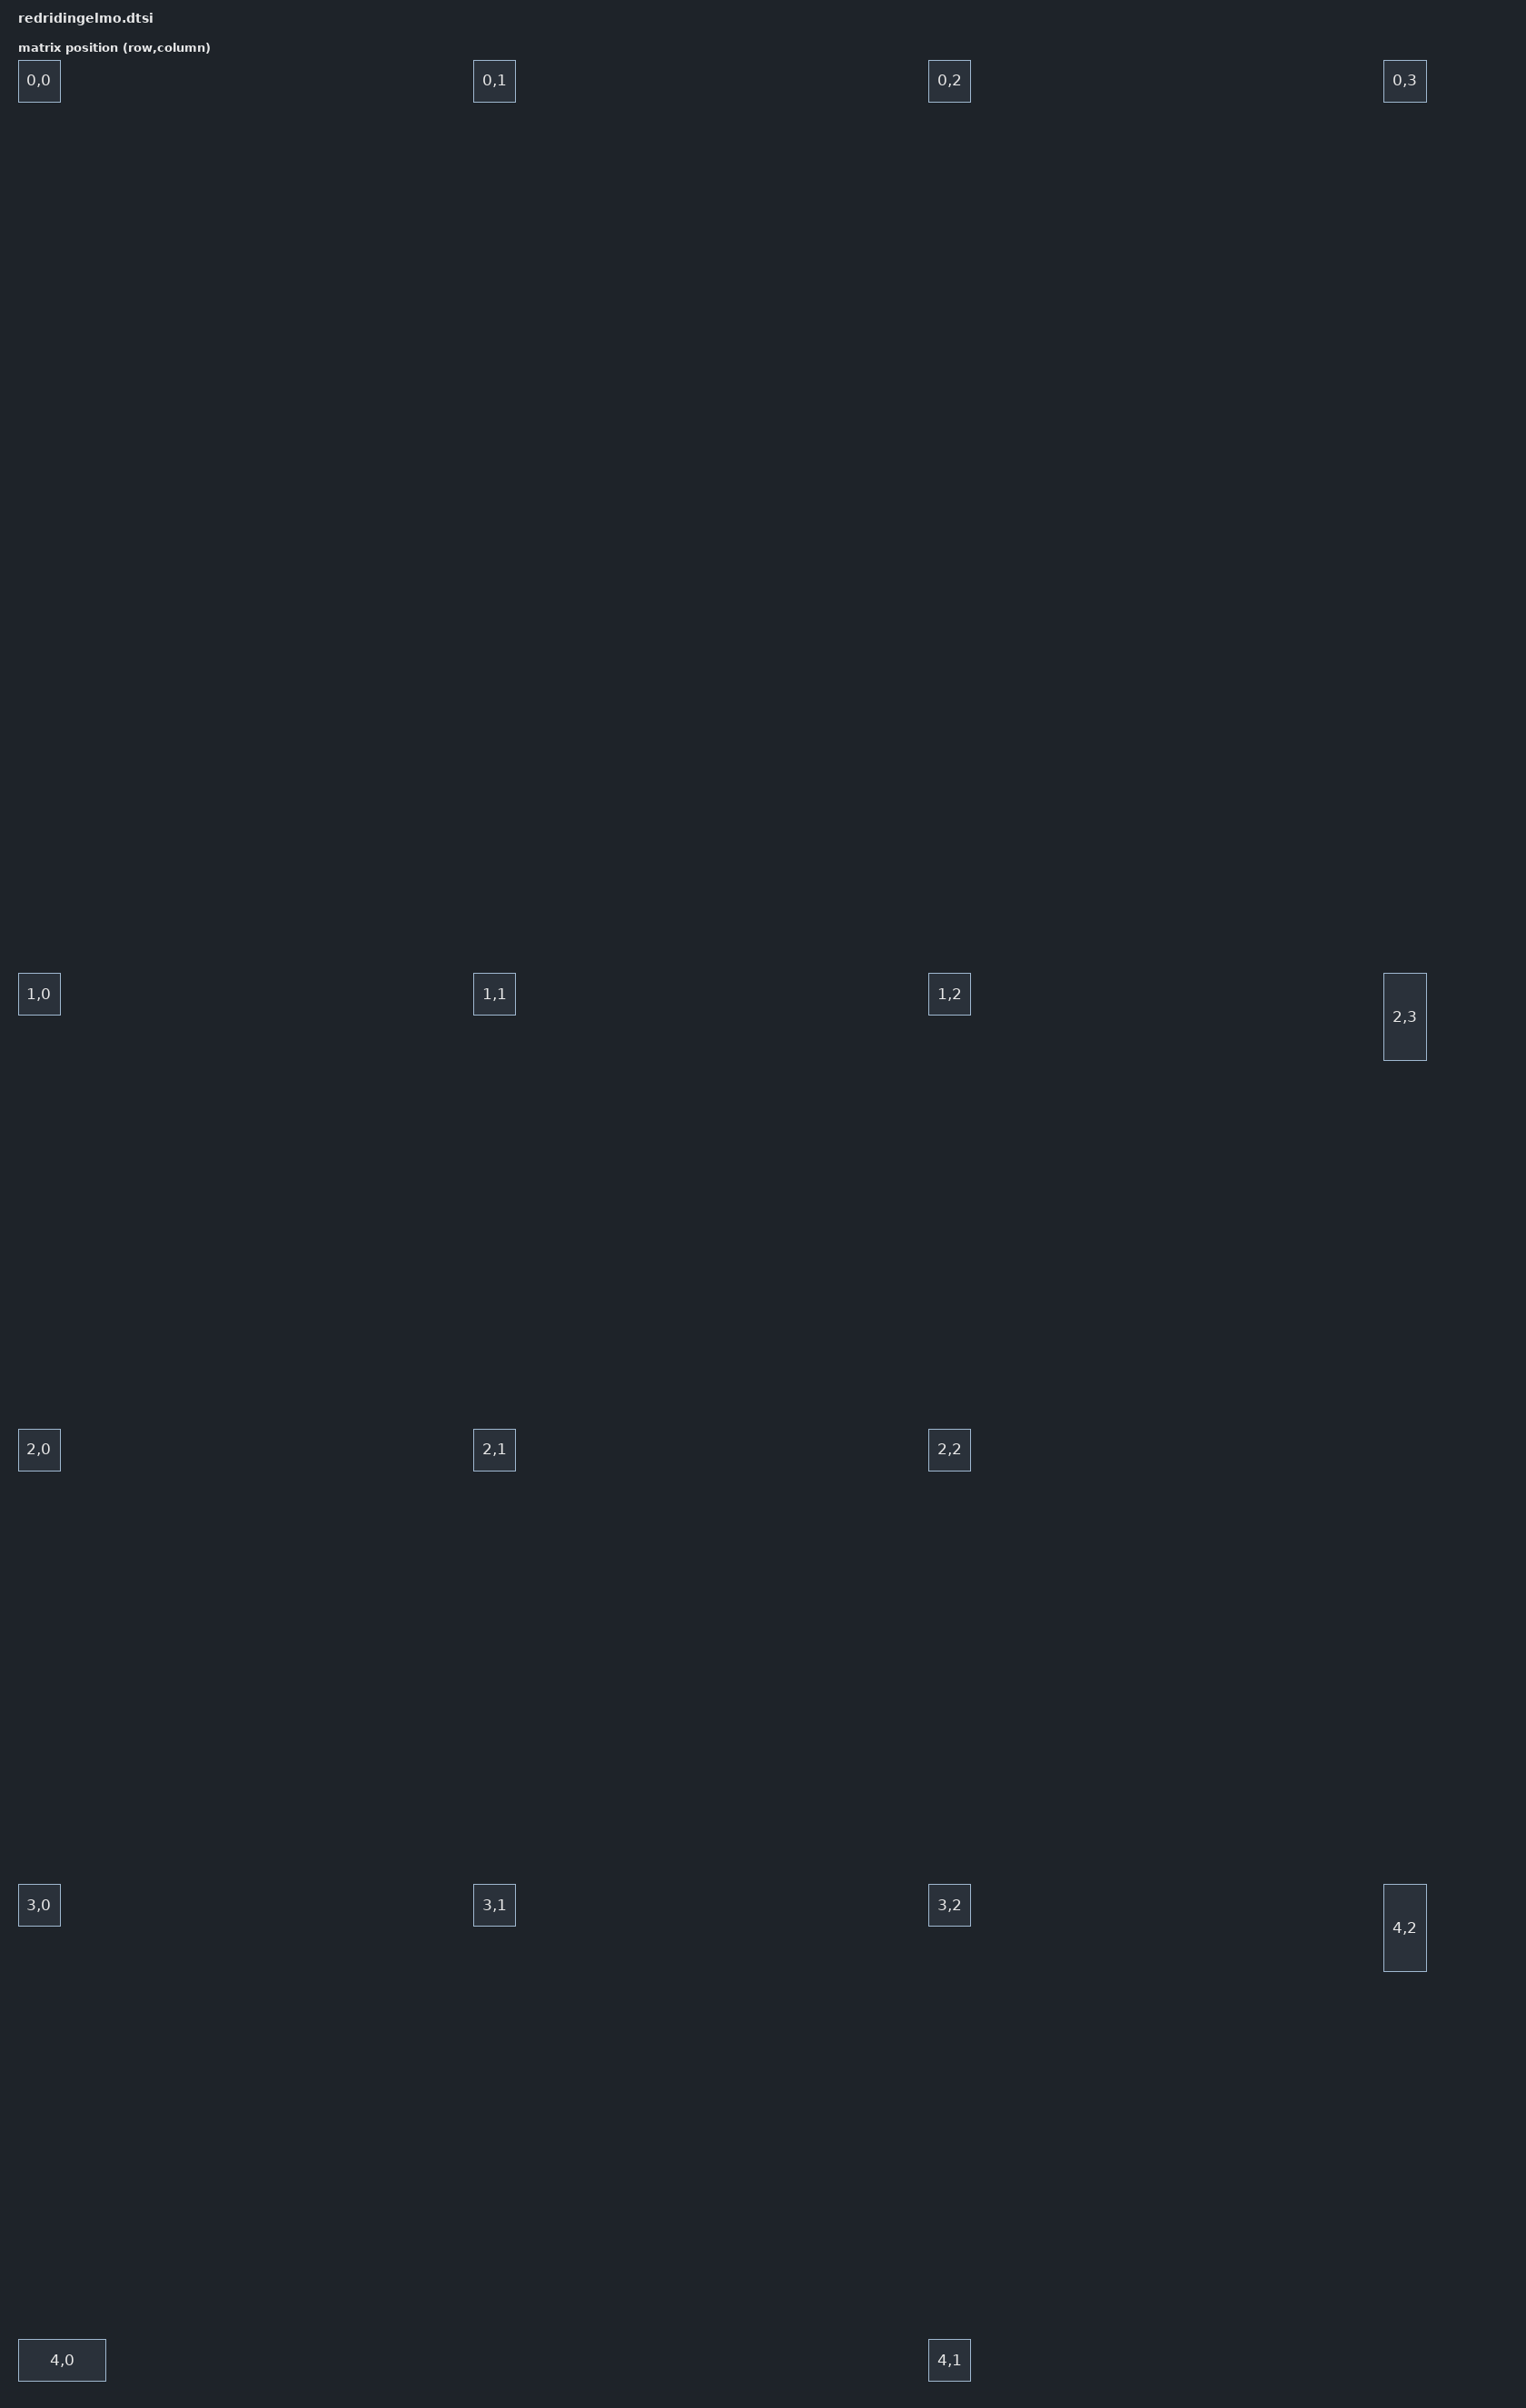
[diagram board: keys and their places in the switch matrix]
#include <dt-bindings/zmk/matrix_transform.h>
#include <physical_layouts.dtsi>

/ {
    chosen {
        zmk,kscan = &kscan0;
        zmk,physical-layout = &default_layout;
    };

    kscan0: kscan_0 {
        compatible = "zmk,kscan-gpio-matrix";
        diode-direction = "col2row";
        wakeup-source;
    };

    default_layout: default_layout {
        compatible = "zmk,physical-layout";
        display-name = "Default Layout";
        transform = <&default_transform>;
    keys =
            // row col           w    h      x      y   rot rx ry
            <&key_physical_attrs 100 100     0   112   0 0 0>   // 0 0
          , <&key_physical_attrs 100 100  1003   112   0 0 0>   // 0 1
          , <&key_physical_attrs 100 100  2005   112   0 0 0>   // 0 2
          , <&key_physical_attrs 100 100  3008   112   0 0 0>   // 0 3

          , <&key_physical_attrs 100 100     0  2123   0 0 0>   // 1 0
          , <&key_physical_attrs 100 100  1003 2123   0 0 0>   // 1 1
          , <&key_physical_attrs 100 100  2005 2123   0 0 0>   // 1 2

          , <&key_physical_attrs 100 100     0 3126   0 0 0>   // 2 0
          , <&key_physical_attrs 100 100  1003 3126   0 0 0>   // 2 1
          , <&key_physical_attrs 100 100  2005 3126   0 0 0>   // 2 2
          , <&key_physical_attrs 100 200  3008 2123   0 0 0>   // 2 3, h:2

          , <&key_physical_attrs 100 100     0 4129   0 0 0>   // 3 0
          , <&key_physical_attrs 100 100  1003 4129   0 0 0>   // 3 1
          , <&key_physical_attrs 100 100  2005 4129   0 0 0>   // 3 2

          , <&key_physical_attrs 200 100     1 5131   0 0 0>   // 4 0, u:2
          , <&key_physical_attrs 100 100  2005 5131   0 0 0>   // 4 1
          , <&key_physical_attrs 100 200  3008 4129   0 0 0>   // 4 2, h:2
            ;
    };
    default_transform: keymap_transform_0 {
        compatible = "zmk,matrix-transform";
        columns = <4>;
        rows = <5>;

        map = <
            RC(0,0) RC(0,1) RC(0,2) RC(0,3)
            RC(1,0) RC(1,1) RC(1,2)
            RC(2,0) RC(2,1) RC(2,2) RC(2,3)
            RC(3,0) RC(3,1) RC(3,2)
            RC(4,0) RC(4,1) RC(4,2)
        >;
    };
};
